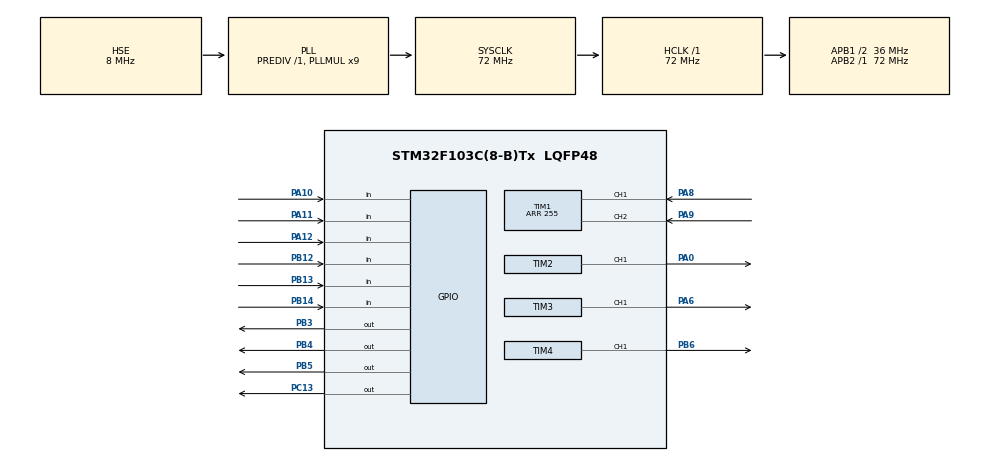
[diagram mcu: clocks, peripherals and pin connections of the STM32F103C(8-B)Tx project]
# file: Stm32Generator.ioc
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Mcu.Family=STM32F1
Mcu.Name=STM32F103C(8-B)Tx
Mcu.Package=LQFP48
NVIC.PriorityGroup=NVIC_PRIORITYGROUP_4
PA0-WKUP.GPIO_Speed=GPIO_SPEED_FREQ_HIGH
PA0-WKUP.Signal=S_TIM2_CH1_ETR
PA10.GPIO_PuPd=GPIO_PULLUP
PA10.Signal=GPIO_Input
PA11.GPIO_PuPd=GPIO_PULLUP
PA11.Signal=GPIO_Input
PA12.GPIO_PuPd=GPIO_PULLUP
PA12.Signal=GPIO_Input
PA13.Mode=Serial_Wire
PA13.Signal=SYS_JTMS-SWDIO
PA14.Mode=Serial_Wire
PA14.Signal=SYS_JTCK-SWCLK
PA6.GPIO_Speed=GPIO_SPEED_FREQ_HIGH
PA6.Signal=S_TIM3_CH1
PA8.GPIO_PuPd=GPIO_PULLUP
PA8.Signal=S_TIM1_CH1
PA9.GPIO_PuPd=GPIO_PULLUP
PA9.Signal=S_TIM1_CH2
PB12.GPIO_PuPd=GPIO_PULLUP
PB12.Signal=GPIO_Input
PB13.GPIO_PuPd=GPIO_PULLUP
PB13.Signal=GPIO_Input
PB14.GPIO_PuPd=GPIO_PULLUP
PB14.Signal=GPIO_Input
PB3.Signal=GPIO_Output
PB4.Signal=GPIO_Output
PB5.Signal=GPIO_Output
PB6.Signal=S_TIM4_CH1
PC13-TAMPER-RTC.GPIO_PuPd=GPIO_NOPULL
PC13-TAMPER-RTC.Signal=GPIO_Output
PD0-OSC_IN.Mode=HSE-External-Oscillator
PD0-OSC_IN.Signal=RCC_OSC_IN
PD1-OSC_OUT.Mode=HSE-External-Oscillator
PD1-OSC_OUT.Signal=RCC_OSC_OUT
ProjectManager.HeapSize=0x200
ProjectManager.StackSize=0x400
ProjectManager.TargetToolchain=MDK-ARM V5.27
RCC.AHBFreq_Value=72000000
RCC.APB1CLKDivider=RCC_HCLK_DIV2
RCC.APB1Freq_Value=36000000
RCC.APB1TimFreq_Value=72000000
RCC.APB2Freq_Value=72000000
RCC.APB2TimFreq_Value=72000000
RCC.HCLKFreq_Value=72000000
RCC.PLLMUL=RCC_PLL_MUL9
RCC.PLLSourceVirtual=RCC_PLLSOURCE_HSE
RCC.SYSCLKFreq_VALUE=72000000
RCC.SYSCLKSource=RCC_SYSCLKSOURCE_PLLCLK
RCC.USBFreq_Value=72000000
SH.S_TIM1_CH1.0=TIM1_CH1,Encoder_Interface
SH.S_TIM1_CH2.0=TIM1_CH2,Encoder_Interface
SH.S_TIM2_CH1_ETR.0=TIM2_CH1,PWM Generation1 CH1
SH.S_TIM3_CH1.0=TIM3_CH1,PWM Generation1 CH1
SH.S_TIM4_CH1.0=TIM4_CH1,PWM Generation1 CH1
TIM1.IC1Filter=15
TIM1.IC1Polarity=TIM_ICPOLARITY_RISING
TIM1.IC2Filter=15
TIM1.IC2Polarity=TIM_ICPOLARITY_RISING
TIM1.Period=255
TIM2.Channel-PWM\ Generation1\ CH1=TIM_CHANNEL_1
TIM2.Channel-PWM\ Generation2\ CH2=TIM_CHANNEL_2
TIM2.OCFastMode_PWM-PWM\ Generation1\ CH1=TIM_OCFAST_ENABLE
TIM2.OCFastMode_PWM-PWM\ Generation2\ CH2=TIM_OCFAST_ENABLE
TIM2.OCPolarity_2=TIM_OCPOLARITY_LOW
TIM2.Period=8192
TIM2.Pulse-PWM\ Generation1\ CH1=0
TIM2.TIM_MasterSlaveMode=TIM_MASTERSLAVEMODE_DISABLE
TIM3.Channel-PWM\ Generation1\ CH1=TIM_CHANNEL_1
TIM3.Channel-PWM\ Generation2\ CH2=TIM_CHANNEL_2
TIM3.OCFastMode_PWM-PWM\ Generation1\ CH1=TIM_OCFAST_ENABLE
TIM3.OCFastMode_PWM-PWM\ Generation2\ CH2=TIM_OCFAST_ENABLE
TIM3.OCPolarity_2=TIM_OCPOLARITY_LOW
TIM3.Period=8192
TIM3.Pulse-PWM\ Generation1\ CH1=0
TIM4.Channel-PWM\ Generation1\ CH1=TIM_CHANNEL_1
TIM4.OCPolarity_1=TIM_OCPOLARITY_HIGH
TIM4.Period=8192
VP_TIM2_VS_ClockSourceINT.Mode=Internal
VP_TIM3_VS_ClockSourceINT.Mode=Internal
VP_TIM4_VS_ClockSourceINT.Mode=Internal
board=custom

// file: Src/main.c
/* USER CODE BEGIN Header */
/**
  ******************************************************************************
  * @file           : main.c
  * @brief          : Main program body
  ******************************************************************************
  * @attention
  *
  * <h2><center>&copy; Copyright (c) 2021 STMicroelectronics.
  * All rights reserved.</center></h2>
  *
  * This software component is licensed by ST under BSD 3-Clause license,
  * the "License"; You may not use this file except in compliance with the
  * License. You may obtain a copy of the License at:
  *                        opensource.org/licenses/BSD-3-Clause
  *
  ******************************************************************************
  */
/* USER CODE END Header */
#include "main.h"

/* USER CODE BEGIN Includes */
#define MAGIC_KEY_DEFINE 0x12345678
/* USER CODE END Includes */

TIM_HandleTypeDef htim1;
TIM_HandleTypeDef htim2;
TIM_HandleTypeDef htim3;
TIM_HandleTypeDef htim4;

/* USER CODE BEGIN PV */
uint16_t periods[3] = {511, 511, 1023};
uint16_t pulses[3] = {255, 255, 511};
uint16_t phases[3] = {0, 0, 0};
uint16_t prescalers[3] = {0, 0, 0};
uint16_t btnCounts[6] = {0, 0, 0, 0, 0, 0};
uint16_t waiting = 0, saveCount = 0;
uint32_t waitingToSave = 0;
uint8_t freqStep = 1, dutyStep = 1, phaseStep = 1;
uint8_t channels[3] = {0, 0, 0};
uint8_t encCounter = 0, encChange = 0, currentChannel = 1, currentOption = 0, PWMCounter = 0, brightness = 10;
float dutys[3] = {0.5, 0.5, 0.5};

const uint16_t WAIT_TICKS = 4000;
const uint32_t WAIT_SAVE_TICKS = 3000000;

typedef struct {
	uint16_t periods[3];
	uint16_t pulses[3];
	uint16_t phases[3];
	uint16_t prescalers[3];

	uint8_t freqStep, dutyStep, phaseStep;

	uint8_t channels[3];

	uint8_t currentChannel;
	uint8_t currentOption;
	uint32_t magicNum;
} Config_t;

struct FLASH_Sector {
	uint8_t data[1024-8];
	uint32_t nWrite;
	uint32_t checkSum;
};

union NVRAM {
	Config_t config;
	struct FLASH_Sector sector;
	uint32_t data32[256];
} DevNVRAM;
/* USER CODE END PV */

void SystemClock_Config(void);
static void MX_GPIO_Init(void);
static void MX_TIM1_Init(void);
static void MX_TIM2_Init(void);
static void MX_TIM3_Init(void);
static void MX_TIM4_Init(void);

/* USER CODE BEGIN 0 */
void procConfig(void const * argument) {
	#define FLASH_CONFIG_START_ADDR    ((uint32_t)0x08008000)
	#define FLASH_CONFIG_END_ADDR      FLASH_CONFIG_START_ADDR + FLASH_PAGE_SIZE

	uint32_t l_Address;
	uint32_t l_Index;

	l_Address = FLASH_CONFIG_START_ADDR;
	l_Index = 0x00;
	while (l_Address < FLASH_CONFIG_END_ADDR) {
		DevNVRAM.data32[l_Index] = *(__IO uint32_t *)l_Address;
		l_Index++;
		l_Address += 4;
	}

	if (DevNVRAM.config.magicNum != MAGIC_KEY_DEFINE) {
		DevNVRAM.config.periods[0] = 511;
		DevNVRAM.config.periods[1] = 511;
		DevNVRAM.config.periods[2] = 1023;
		DevNVRAM.config.pulses[0] = 255;
		DevNVRAM.config.pulses[1] = 255;
		DevNVRAM.config.pulses[2] = 511;
		DevNVRAM.config.phases[0] = 0;
		DevNVRAM.config.phases[1] = 0;
		DevNVRAM.config.phases[2] = 0;
		DevNVRAM.config.prescalers[0] = 0;
		DevNVRAM.config.prescalers[1] = 0;
		DevNVRAM.config.prescalers[2] = 0;
		DevNVRAM.config.freqStep = 1;
		DevNVRAM.config.dutyStep = 1;
		DevNVRAM.config.phaseStep = 1;
		DevNVRAM.config.channels[0] = 0;
		DevNVRAM.config.channels[1] = 0;
		DevNVRAM.config.channels[2] = 0;
		DevNVRAM.config.currentChannel = 0;
		DevNVRAM.config.currentOption = 0;

		DevNVRAM.config.magicNum = MAGIC_KEY_DEFINE;
		DevNVRAM.sector.nWrite = 0;
	}
}
void procConfigUpdate(void) {
	#define FLASH_CONFIG_START_ADDR    ((uint32_t)0x08008000)
	#define FLASH_CONFIG_END_ADDR      FLASH_CONFIG_START_ADDR + FLASH_PAGE_SIZE

	static FLASH_EraseInitTypeDef EraseInitStruct;

	uint32_t l_Address;
	uint32_t l_Error;
	uint32_t l_Index;

	EraseInitStruct.TypeErase = FLASH_TYPEERASE_PAGES;
	EraseInitStruct.PageAddress = FLASH_CONFIG_START_ADDR;
	EraseInitStruct.NbPages = 0x01;

	l_Address = FLASH_CONFIG_START_ADDR;
	l_Error = 0x00;
	l_Index = 0x00;
	while (l_Address < FLASH_CONFIG_END_ADDR) {
		if (DevNVRAM.data32[l_Index] != *(__IO uint32_t*)l_Address) {
			l_Error++;
		}
		l_Index++;
		l_Address += 4;
	}

	if (l_Error > 0) {
		HAL_FLASH_Unlock();
		HAL_FLASHEx_Erase(&EraseInitStruct, &l_Error);
		l_Address = FLASH_CONFIG_START_ADDR;
		l_Error = 0x00;
		l_Index = 0x00;
		DevNVRAM.sector.nWrite++;
		while (l_Address < FLASH_CONFIG_END_ADDR) {
			HAL_Delay(5);
			if ( HAL_FLASH_Program(FLASH_TYPEPROGRAM_WORD, l_Address, DevNVRAM.data32[l_Index]) == HAL_OK) {
				l_Index++;
				l_Address += 4;
			}
			HAL_Delay(10);
		}
		HAL_FLASH_Lock();
	}
}

void startTIM(TIM_TypeDef* tim) {
	tim->CCER = 1;
	tim->DMAR = 1;
}
void stopTIM(TIM_TypeDef* tim) {
	tim->CCER = 0;
	tim->DMAR = 0;
}
void startPWM(void) {
	TIM2->CNT = (uint32_t)phases[0] * TIM2->ARR / 0xFFFF;
	TIM3->CNT = (uint32_t)phases[1] * TIM3->ARR / 0xFFFF;
	TIM4->CNT = (uint32_t)phases[2] * TIM4->ARR / 0xFFFF;

	uint8_t ch = (channels[2] << 2) | (channels[1] << 1) | channels[0];

	switch (ch) {
		case 0x01:
			TIM2->CCER = TIM2->DMAR = 1;
			break;
		case 0x02:
			TIM3->CCER = TIM3->DMAR = 1;
			break;
		case 0x03:
			TIM2->CNT += 0x000A;
			TIM2->CCER = TIM2->DMAR = TIM3->CCER = TIM3->DMAR = 1;
			break;
		case 0x04:
			TIM4->CCER = TIM4->DMAR = 1;
			break;
		case 0x05:
			TIM2->CNT += 0x000A;
			TIM2->CCER = TIM2->DMAR = TIM4->CCER = TIM4->DMAR = 1;
			break;
		case 0x06:
			TIM3->CNT += 0x000A;
			TIM3->CCER = TIM3->DMAR = TIM4->CCER = TIM4->DMAR = 1;
			break;
		case 0x07:
			TIM3->CNT += 0x000A;
			TIM2->CNT += 0x0014;
			TIM2->CCER = TIM2->DMAR = TIM3->CCER = TIM3->DMAR = TIM4->CCER = TIM4->DMAR = 1;
			break;
	}
}
void stopPWM(void) {
	if (channels[0]) stopTIM(TIM2);
	if (channels[1]) stopTIM(TIM3);
	if (channels[2]) stopTIM(TIM4);
}
void setFrequency(int8_t change) {
	TIM_TypeDef* tim;
	switch (currentChannel) {
		case 0x00: tim = TIM2; break;
		case 0x01: tim = TIM3; break;
		case 0x02: tim = TIM4; break;
	}
	int32_t step = freqStep == 1 ? 1 : tim->ARR * freqStep / 512;
	uint16_t newARR = tim->ARR + change * (step | 1);
	stopPWM();
	if (change > 0 && newARR < tim->ARR) {
		if (tim->PSC < 0xFFFF) {
			tim->ARR = 0x8000;
			tim->PSC = ( (tim->PSC + 1) << 1) - 1;
			tim->CCR1 = tim->CCR1 > 0x0001 ? tim->CCR1 >> 1 : 0x0001;
		} else {
			tim->ARR = 0xFFFF;
		}
	} else if (change < 0 && newARR < 0x8000 && tim->PSC > 0x0000) {
		tim->ARR = 0xFFFF;
		tim->PSC >>= 1;
		tim->CCR1 = tim->CCR1 << 1 > tim->ARR ? tim->ARR : tim->CCR1 << 1;
	} else if (change < 0 && (newARR > tim->ARR || newARR < 0x0001) ) {
		tim->ARR = 0x0001;
	} else {
		tim->ARR = newARR;
	}

	if (tim == TIM4 || tim == TIM2) {
		tim->CCR1 = tim->ARR * dutys[currentChannel];
	}

	if (tim->CCR1 < 1) tim->CCR1 = 1;
	if (tim->CCR1 > tim->ARR) tim->CCR1 = tim->ARR;

	if (tim == TIM4) {
		TIM2->ARR = TIM2->ARR > TIM4->ARR ? (TIM2->ARR + 1) - (TIM2->ARR + 1) % (TIM4->ARR + 1) - 1 : TIM4->ARR;
		//TIM3->ARR = 0xFFFF;
		TIM3->ARR = TIM3->ARR > TIM2->ARR ? (TIM3->ARR + 1) - (TIM3->ARR + 1) % (TIM2->ARR + 1) - 1 : TIM2->ARR;
		TIM2->CCR1 = TIM2->ARR * dutys[0];
		TIM3->CCR1 = TIM3->ARR * dutys[1];
		if (TIM2->CCR1 < 1) TIM2->CCR1 = 1;
		if (TIM3->CCR1 < 1) TIM3->CCR1 = 1;
		DevNVRAM.config.periods[0] = TIM2->ARR;
		DevNVRAM.config.periods[1] = TIM3->ARR;
		DevNVRAM.config.pulses[0] = TIM2->CCR1;
		DevNVRAM.config.pulses[1] = TIM3->CCR1;
	}

	DevNVRAM.config.periods[currentChannel] = tim->ARR;
	DevNVRAM.config.pulses[currentChannel] = tim->CCR1;
	DevNVRAM.config.prescalers[currentChannel] = tim->PSC;

	startPWM();
}
void setDuty(int8_t change) {
	TIM_TypeDef* tim;
	switch (currentChannel) {
		case 0x00: tim = TIM2; break;
		case 0x01: tim = TIM3; break;
		case 0x02: tim = TIM4; break;
	}
	int32_t step = dutyStep == 1 ? 1 : dutyStep * tim->ARR / 512;
	uint16_t newCCR = tim->CCR1 + change * (step | 1);
	if (change > 0 && (newCCR < tim->CCR1 || newCCR > tim->ARR + 1) ) {
		tim->CCR1 = tim->ARR + 1 > 0x0000 ? tim->ARR + 1 : tim->ARR;
	} else if (change < 0 && newCCR > tim->CCR1) {
		tim->CCR1= 0x0000;
	} else {
		tim->CCR1 = newCCR;
	}

	switch (currentChannel) {
		case 0x00: DevNVRAM.config.pulses[0] = tim->CCR1; break;
		case 0x01: DevNVRAM.config.pulses[1] = tim->CCR1; break;
		case 0x02: DevNVRAM.config.pulses[2] = tim->CCR1; break;
	}
	dutys[currentChannel] = (float)(tim->CCR1 + 1) / (tim->ARR + 1);
}
void setPhase(int8_t change) {
	TIM_TypeDef* tim;
	switch (currentChannel) {
		case 0x00: tim = TIM2; break;
		case 0x01: tim = TIM3; break;
		case 0x02: tim = TIM4; break;
	}
	int32_t step = phaseStep == 1 ? 0xFFFF / tim->ARR : phaseStep * 128;
	phases[currentChannel] = phases[currentChannel] + change * (step | 1);
	switch (currentChannel) {
		case 0x00: DevNVRAM.config.phases[0] = phases[0]; break;
		case 0x01: DevNVRAM.config.phases[1] = phases[1]; break;
		case 0x02: DevNVRAM.config.phases[2] = phases[2]; break;
	}
	stopPWM();
	startPWM();
}
void setOption(void) {
	int8_t change;
	if (encChange < 0x80) {
		change = 1;
	} else {
		change = -1;
	}
	switch (currentOption) {
		case 0x00:
			setFrequency(change);
			break;
		case 0x01:
			setDuty(change);
			break;
		case 0x02:
			setPhase(change);
			break;
	}
}
void blink(uint8_t number) {
	uint16_t GPIO_Pin;
	switch (number) {
		case 0x00:
			GPIO_Pin = GPIO_PIN_4;
			break;
		case 0x01:
			GPIO_Pin = GPIO_PIN_5;
			break;
		case 0x02:
			GPIO_Pin = GPIO_PIN_3;
			break;
	}
	HAL_GPIO_WritePin(GPIOB, GPIO_PIN_5, GPIO_PIN_RESET);
	HAL_GPIO_WritePin(GPIOB, GPIO_PIN_4, GPIO_PIN_RESET);
	HAL_GPIO_WritePin(GPIOB, GPIO_PIN_3, GPIO_PIN_RESET);
	for (uint8_t i = 0x00; i < 0x03; i++) {
		HAL_Delay(100);
		HAL_GPIO_WritePin(GPIOB, GPIO_Pin, GPIO_PIN_SET);
		HAL_Delay(10);
		HAL_GPIO_WritePin(GPIOB, GPIO_Pin, GPIO_PIN_RESET);
	}
}
void blinkAll() {
	HAL_GPIO_WritePin(GPIOB, GPIO_PIN_5, GPIO_PIN_RESET);
	HAL_GPIO_WritePin(GPIOB, GPIO_PIN_4, GPIO_PIN_RESET);
	HAL_GPIO_WritePin(GPIOB, GPIO_PIN_3, GPIO_PIN_RESET);
	for (uint8_t i = 0x00; i < 0x03; i++) {
		HAL_Delay(100);
		HAL_GPIO_WritePin(GPIOB, GPIO_PIN_3, GPIO_PIN_SET);
		HAL_GPIO_WritePin(GPIOB, GPIO_PIN_4, GPIO_PIN_SET);
		HAL_GPIO_WritePin(GPIOB, GPIO_PIN_5, GPIO_PIN_SET);
		HAL_Delay(10);
		HAL_GPIO_WritePin(GPIOB, GPIO_PIN_3, GPIO_PIN_RESET);
		HAL_GPIO_WritePin(GPIOB, GPIO_PIN_4, GPIO_PIN_RESET);
		HAL_GPIO_WritePin(GPIOB, GPIO_PIN_5, GPIO_PIN_RESET);
	}
}
void incCounter(uint8_t number, GPIO_PinState PinState) {
	if (PinState == GPIO_PIN_RESET) {
		btnCounts[number]++;
	} else {
		btnCounts[number] = 0x0000;
	}
}
void handleChannelBtn(uint8_t number) {
	uint16_t GPIO_Pin;
	TIM_TypeDef* tim;
	switch (number) {
		case 0x00:
			GPIO_Pin = GPIO_PIN_11;
			tim = TIM2;
			break;
		case 0x01:
			GPIO_Pin = GPIO_PIN_12;
			tim = TIM3;
			break;
		case 0x02:
			GPIO_Pin = GPIO_PIN_10;
			tim = TIM4;
			break;
	}
	incCounter(number, HAL_GPIO_ReadPin(GPIOA, GPIO_Pin) );

	if (btnCounts[number] == WAIT_TICKS) {
		channels[number] = 0x01 - channels[number];
		if (channels[number]) {
			stopPWM();
			startPWM();
		} else {
			stopTIM(tim);
		}
		switch (number) {
			case 0x00:
				DevNVRAM.config.channels[0] = channels[0];
				break;
			case 0x01:
				DevNVRAM.config.channels[1] = channels[1];
				break;
			case 0x02:
				DevNVRAM.config.channels[2] = channels[2];
				break;
		}
	}
}
void handleChannelSelectBtn() {
	incCounter(0x03, HAL_GPIO_ReadPin(GPIOB, GPIO_PIN_14) );

	if (btnCounts[3] == WAIT_TICKS) {
		currentChannel = (currentChannel + 0x02) % 0x03;
		DevNVRAM.config.currentChannel = currentChannel;
		blink(currentChannel);
	}
}
void handleOptionSelectBtn() {
	incCounter(0x04, HAL_GPIO_ReadPin(GPIOB, GPIO_PIN_13) );

	if (btnCounts[4] == WAIT_TICKS) {
		currentOption = (currentOption + 0x01) % 0x03;
		DevNVRAM.config.currentOption = currentOption;
	}
}
void handleStepSelectBtn() {
	incCounter(0x05, HAL_GPIO_ReadPin(GPIOB, GPIO_PIN_12) );

	if (btnCounts[5] == WAIT_TICKS) {
		switch (currentOption) {
			case 0x00:
				freqStep = freqStep << 2 | freqStep >> 6;
				DevNVRAM.config.freqStep = freqStep;
				break;
			case 0x01:
				dutyStep = dutyStep << 2 | dutyStep >> 6;
				DevNVRAM.config.dutyStep = dutyStep;
				break;
			case 0x02:
				phaseStep = phaseStep << 2 | phaseStep >> 6;
				DevNVRAM.config.phaseStep = phaseStep;
				break;
		}
	}
}
void load(void) {
	periods[0] = DevNVRAM.config.periods[0] ? DevNVRAM.config.periods[0] : 511;
	periods[1] = DevNVRAM.config.periods[1] ? DevNVRAM.config.periods[1] : 511;
	periods[2] = DevNVRAM.config.periods[2] ? DevNVRAM.config.periods[2] : 1023;
	pulses[0] = DevNVRAM.config.pulses[0] ? DevNVRAM.config.pulses[0] : 255;
	pulses[1] = DevNVRAM.config.pulses[1] ? DevNVRAM.config.pulses[1] : 255;
	pulses[2] = DevNVRAM.config.pulses[2] ? DevNVRAM.config.pulses[2] : 511;
	phases[0] = DevNVRAM.config.phases[0];
	phases[1] = DevNVRAM.config.phases[1];
	phases[2] = DevNVRAM.config.phases[2];
	prescalers[0] = DevNVRAM.config.prescalers[0];
	prescalers[1] = DevNVRAM.config.prescalers[1];
	prescalers[2] = DevNVRAM.config.prescalers[2];
	dutys[0] = (float)(pulses[0] + 1) / (periods[0] + 1);
	dutys[1] = (float)(pulses[1] + 1) / (periods[1] + 1);
	dutys[2] = (float)(pulses[2] + 1) / (periods[2] + 1);

	freqStep = DevNVRAM.config.freqStep ? DevNVRAM.config.freqStep : 1;
	dutyStep = DevNVRAM.config.dutyStep ? DevNVRAM.config.dutyStep : 1;
	phaseStep = DevNVRAM.config.phaseStep ? DevNVRAM.config.phaseStep : 1;

	channels[0] = DevNVRAM.config.channels[0];
	channels[1] = DevNVRAM.config.channels[1];
	channels[2] = DevNVRAM.config.channels[2];

	currentChannel = DevNVRAM.config.currentChannel;
	currentOption = DevNVRAM.config.currentOption;
}
/* USER CODE END 0 */

int main(void)
{

  /* MCU Configuration--------------------------------------------------------*/

  /* Reset of all peripherals, Initializes the Flash interface and the Systick. */
  HAL_Init();

  /* USER CODE BEGIN Init */
	RCC->APB1ENR |= 0x18000000;
	PWR->CR |= 0x100;
	procConfig(0);
	load();
  /* USER CODE END Init */

  /* Configure the system clock */
  SystemClock_Config();

  /* Initialize all configured peripherals */
  MX_GPIO_Init();
  MX_TIM1_Init();
  MX_TIM2_Init();
  MX_TIM3_Init();
  MX_TIM4_Init();
  /* USER CODE BEGIN 2 */
	HAL_TIM_Encoder_Start(&htim1, TIM_CHANNEL_1);

	TIM2->ARR = periods[0];
	TIM3->ARR = periods[1];
	TIM4->ARR = periods[2];
	TIM2->CCR1 = pulses[0];
	TIM3->CCR1 = pulses[1];
	TIM4->CCR1 = pulses[2];
	TIM2->PSC = prescalers[0];
	TIM3->PSC = prescalers[1];
	TIM4->PSC = prescalers[2];

	startPWM();

  HAL_GPIO_WritePin(GPIOC, GPIO_PIN_13, GPIO_PIN_SET);

	blinkAll();
	stopPWM();
	startPWM();
  /* USER CODE END 2 */

  /* Infinite loop */
  /* USER CODE BEGIN WHILE */
  while (1)
  {
		if (!waitingToSave) {
			procConfigUpdate();
			waitingToSave = WAIT_SAVE_TICKS;
			saveCount++;
		}
		waitingToSave--;

		encChange = TIM1->CNT - encCounter;
		if (waiting > 0) waiting--;
		if (!waiting && encChange != 0x00) {
			waiting = WAIT_TICKS;
			setOption();
		}
		encCounter = TIM1->CNT;

		handleChannelBtn(0x00);
		handleChannelBtn(0x01);
		handleChannelBtn(0x02);
		handleChannelSelectBtn();
		handleOptionSelectBtn();
		handleStepSelectBtn();

		PWMCounter++;
		if (PWMCounter < brightness) {
			if (channels[0]) {
				HAL_GPIO_WritePin(GPIOB, GPIO_PIN_4, GPIO_PIN_SET);
			}
			if (channels[1]) {
				HAL_GPIO_WritePin(GPIOB, GPIO_PIN_5, GPIO_PIN_SET);
			}
			if (channels[2]) {
				HAL_GPIO_WritePin(GPIOB, GPIO_PIN_3, GPIO_PIN_SET);
			}
		} else {
			HAL_GPIO_WritePin(GPIOB, GPIO_PIN_5, GPIO_PIN_RESET);
			HAL_GPIO_WritePin(GPIOB, GPIO_PIN_4, GPIO_PIN_RESET);
			HAL_GPIO_WritePin(GPIOB, GPIO_PIN_3, GPIO_PIN_RESET);
		}
    /* USER CODE END WHILE */

  }
}

void SystemClock_Config(void)
{
  RCC_OscInitTypeDef RCC_OscInitStruct = {0};
  RCC_ClkInitTypeDef RCC_ClkInitStruct = {0};

  /** Initializes the RCC Oscillators according to the specified parameters
  * in the RCC_OscInitTypeDef structure.
  */
  RCC_OscInitStruct.OscillatorType = RCC_OSCILLATORTYPE_HSE;
  RCC_OscInitStruct.HSEState = RCC_HSE_ON;
  RCC_OscInitStruct.HSEPredivValue = RCC_HSE_PREDIV_DIV1;
  RCC_OscInitStruct.HSIState = RCC_HSI_ON;
  RCC_OscInitStruct.PLL.PLLState = RCC_PLL_ON;
  RCC_OscInitStruct.PLL.PLLSource = RCC_PLLSOURCE_HSE;
  RCC_OscInitStruct.PLL.PLLMUL = RCC_PLL_MUL9;
  if (HAL_RCC_OscConfig(&RCC_OscInitStruct) != HAL_OK)
  {
    Error_Handler();
  }
  /** Initializes the CPU, AHB and APB buses clocks
  */
  RCC_ClkInitStruct.ClockType = RCC_CLOCKTYPE_HCLK|RCC_CLOCKTYPE_SYSCLK
                              |RCC_CLOCKTYPE_PCLK1|RCC_CLOCKTYPE_PCLK2;
  RCC_ClkInitStruct.SYSCLKSource = RCC_SYSCLKSOURCE_PLLCLK;
  RCC_ClkInitStruct.AHBCLKDivider = RCC_SYSCLK_DIV1;
  RCC_ClkInitStruct.APB1CLKDivider = RCC_HCLK_DIV2;
  RCC_ClkInitStruct.APB2CLKDivider = RCC_HCLK_DIV1;

  if (HAL_RCC_ClockConfig(&RCC_ClkInitStruct, FLASH_LATENCY_2) != HAL_OK)
  {
    Error_Handler();
  }
}

static void MX_TIM1_Init(void)
{

  TIM_Encoder_InitTypeDef sConfig = {0};
  TIM_MasterConfigTypeDef sMasterConfig = {0};

  htim1.Instance = TIM1;
  htim1.Init.Prescaler = 0;
  htim1.Init.CounterMode = TIM_COUNTERMODE_UP;
  htim1.Init.Period = 255;
  htim1.Init.ClockDivision = TIM_CLOCKDIVISION_DIV1;
  htim1.Init.RepetitionCounter = 0;
  htim1.Init.AutoReloadPreload = TIM_AUTORELOAD_PRELOAD_DISABLE;
  sConfig.EncoderMode = TIM_ENCODERMODE_TI1;
  sConfig.IC1Polarity = TIM_ICPOLARITY_RISING;
  sConfig.IC1Selection = TIM_ICSELECTION_DIRECTTI;
  sConfig.IC1Prescaler = TIM_ICPSC_DIV1;
  sConfig.IC1Filter = 15;
  sConfig.IC2Polarity = TIM_ICPOLARITY_RISING;
  sConfig.IC2Selection = TIM_ICSELECTION_DIRECTTI;
  sConfig.IC2Prescaler = TIM_ICPSC_DIV1;
  sConfig.IC2Filter = 15;
  if (HAL_TIM_Encoder_Init(&htim1, &sConfig) != HAL_OK)
  {
    Error_Handler();
  }
  sMasterConfig.MasterOutputTrigger = TIM_TRGO_RESET;
  sMasterConfig.MasterSlaveMode = TIM_MASTERSLAVEMODE_DISABLE;
  if (HAL_TIMEx_MasterConfigSynchronization(&htim1, &sMasterConfig) != HAL_OK)
  {
    Error_Handler();
  }

}

static void MX_TIM2_Init(void)
{

  TIM_ClockConfigTypeDef sClockSourceConfig = {0};
  TIM_MasterConfigTypeDef sMasterConfig = {0};
  TIM_OC_InitTypeDef sConfigOC = {0};

  htim2.Instance = TIM2;
  htim2.Init.Prescaler = 0;
  htim2.Init.CounterMode = TIM_COUNTERMODE_UP;
  htim2.Init.Period = 8192;
  htim2.Init.ClockDivision = TIM_CLOCKDIVISION_DIV1;
  htim2.Init.AutoReloadPreload = TIM_AUTORELOAD_PRELOAD_DISABLE;
  if (HAL_TIM_Base_Init(&htim2) != HAL_OK)
  {
    Error_Handler();
  }
  sClockSourceConfig.ClockSource = TIM_CLOCKSOURCE_INTERNAL;
  if (HAL_TIM_ConfigClockSource(&htim2, &sClockSourceConfig) != HAL_OK)
  {
    Error_Handler();
  }
  if (HAL_TIM_PWM_Init(&htim2) != HAL_OK)
  {
    Error_Handler();
  }
  sMasterConfig.MasterOutputTrigger = TIM_TRGO_RESET;
  sMasterConfig.MasterSlaveMode = TIM_MASTERSLAVEMODE_DISABLE;
  if (HAL_TIMEx_MasterConfigSynchronization(&htim2, &sMasterConfig) != HAL_OK)
  {
    Error_Handler();
  }
  sConfigOC.OCMode = TIM_OCMODE_PWM1;
  sConfigOC.Pulse = 0;
  sConfigOC.OCPolarity = TIM_OCPOLARITY_HIGH;
  sConfigOC.OCFastMode = TIM_OCFAST_ENABLE;
  if (HAL_TIM_PWM_ConfigChannel(&htim2, &sConfigOC, TIM_CHANNEL_1) != HAL_OK)
  {
    Error_Handler();
  }
  HAL_TIM_MspPostInit(&htim2);

}

static void MX_TIM3_Init(void)
{

  TIM_ClockConfigTypeDef sClockSourceConfig = {0};
  TIM_MasterConfigTypeDef sMasterConfig = {0};
  TIM_OC_InitTypeDef sConfigOC = {0};

  htim3.Instance = TIM3;
  htim3.Init.Prescaler = 0;
  htim3.Init.CounterMode = TIM_COUNTERMODE_UP;
  htim3.Init.Period = 8192;
  htim3.Init.ClockDivision = TIM_CLOCKDIVISION_DIV1;
  htim3.Init.AutoReloadPreload = TIM_AUTORELOAD_PRELOAD_DISABLE;
  if (HAL_TIM_Base_Init(&htim3) != HAL_OK)
  {
    Error_Handler();
  }
  sClockSourceConfig.ClockSource = TIM_CLOCKSOURCE_INTERNAL;
  if (HAL_TIM_ConfigClockSource(&htim3, &sClockSourceConfig) != HAL_OK)
  {
    Error_Handler();
  }
  if (HAL_TIM_PWM_Init(&htim3) != HAL_OK)
  {
    Error_Handler();
  }
  sMasterConfig.MasterOutputTrigger = TIM_TRGO_RESET;
  sMasterConfig.MasterSlaveMode = TIM_MASTERSLAVEMODE_DISABLE;
  if (HAL_TIMEx_MasterConfigSynchronization(&htim3, &sMasterConfig) != HAL_OK)
  {
    Error_Handler();
  }
  sConfigOC.OCMode = TIM_OCMODE_PWM1;
  sConfigOC.Pulse = 0;
  sConfigOC.OCPolarity = TIM_OCPOLARITY_HIGH;
  sConfigOC.OCFastMode = TIM_OCFAST_ENABLE;
  if (HAL_TIM_PWM_ConfigChannel(&htim3, &sConfigOC, TIM_CHANNEL_1) != HAL_OK)
  {
    Error_Handler();
  }
  HAL_TIM_MspPostInit(&htim3);

}

static void MX_TIM4_Init(void)
{

  TIM_ClockConfigTypeDef sClockSourceConfig = {0};
  TIM_MasterConfigTypeDef sMasterConfig = {0};
  TIM_OC_InitTypeDef sConfigOC = {0};

  htim4.Instance = TIM4;
  htim4.Init.Prescaler = 0;
  htim4.Init.CounterMode = TIM_COUNTERMODE_UP;
  htim4.Init.Period = 8192;
  htim4.Init.ClockDivision = TIM_CLOCKDIVISION_DIV1;
  htim4.Init.AutoReloadPreload = TIM_AUTORELOAD_PRELOAD_DISABLE;
  if (HAL_TIM_Base_Init(&htim4) != HAL_OK)
  {
    Error_Handler();
  }
  sClockSourceConfig.ClockSource = TIM_CLOCKSOURCE_INTERNAL;
  if (HAL_TIM_ConfigClockSource(&htim4, &sClockSourceConfig) != HAL_OK)
  {
    Error_Handler();
  }
  if (HAL_TIM_PWM_Init(&htim4) != HAL_OK)
  {
    Error_Handler();
  }
  sMasterConfig.MasterOutputTrigger = TIM_TRGO_RESET;
  sMasterConfig.MasterSlaveMode = TIM_MASTERSLAVEMODE_DISABLE;
  if (HAL_TIMEx_MasterConfigSynchronization(&htim4, &sMasterConfig) != HAL_OK)
  {
    Error_Handler();
  }
  sConfigOC.OCMode = TIM_OCMODE_PWM1;
  sConfigOC.Pulse = 0;
  sConfigOC.OCPolarity = TIM_OCPOLARITY_HIGH;
  sConfigOC.OCFastMode = TIM_OCFAST_DISABLE;
  if (HAL_TIM_PWM_ConfigChannel(&htim4, &sConfigOC, TIM_CHANNEL_1) != HAL_OK)
  {
    Error_Handler();
  }
  HAL_TIM_MspPostInit(&htim4);

}

static void MX_GPIO_Init(void)
{
  GPIO_InitTypeDef GPIO_InitStruct = {0};

  /* GPIO Ports Clock Enable */
  __HAL_RCC_GPIOC_CLK_ENABLE();
  __HAL_RCC_GPIOD_CLK_ENABLE();
  __HAL_RCC_GPIOA_CLK_ENABLE();
  __HAL_RCC_GPIOB_CLK_ENABLE();

  /*Configure GPIO pin Output Level */
  HAL_GPIO_WritePin(GPIOC, GPIO_PIN_13, GPIO_PIN_RESET);

  /*Configure GPIO pin Output Level */
  HAL_GPIO_WritePin(GPIOB, GPIO_PIN_3|GPIO_PIN_4|GPIO_PIN_5, GPIO_PIN_RESET);

  /*Configure GPIO pin : PC13 */
  GPIO_InitStruct.Pin = GPIO_PIN_13;
  GPIO_InitStruct.Mode = GPIO_MODE_OUTPUT_PP;
  GPIO_InitStruct.Pull = GPIO_NOPULL;
  GPIO_InitStruct.Speed = GPIO_SPEED_FREQ_LOW;
  HAL_GPIO_Init(GPIOC, &GPIO_InitStruct);

  /*Configure GPIO pins : PB12 PB13 PB14 */
  GPIO_InitStruct.Pin = GPIO_PIN_12|GPIO_PIN_13|GPIO_PIN_14;
  GPIO_InitStruct.Mode = GPIO_MODE_INPUT;
  GPIO_InitStruct.Pull = GPIO_PULLUP;
  HAL_GPIO_Init(GPIOB, &GPIO_InitStruct);

  /*Configure GPIO pins : PA10 PA11 PA12 */
  GPIO_InitStruct.Pin = GPIO_PIN_10|GPIO_PIN_11|GPIO_PIN_12;
  GPIO_InitStruct.Mode = GPIO_MODE_INPUT;
  GPIO_InitStruct.Pull = GPIO_PULLUP;
  HAL_GPIO_Init(GPIOA, &GPIO_InitStruct);

  /*Configure GPIO pins : PB3 PB4 PB5 */
  GPIO_InitStruct.Pin = GPIO_PIN_3|GPIO_PIN_4|GPIO_PIN_5;
  GPIO_InitStruct.Mode = GPIO_MODE_OUTPUT_PP;
  GPIO_InitStruct.Pull = GPIO_NOPULL;
  GPIO_InitStruct.Speed = GPIO_SPEED_FREQ_LOW;
  HAL_GPIO_Init(GPIOB, &GPIO_InitStruct);

}

void Error_Handler(void)
{
  __disable_irq();
  while (1)
  {
  }
}

/************************ (C) COPYRIGHT STMicroelectronics *****END OF FILE****/
